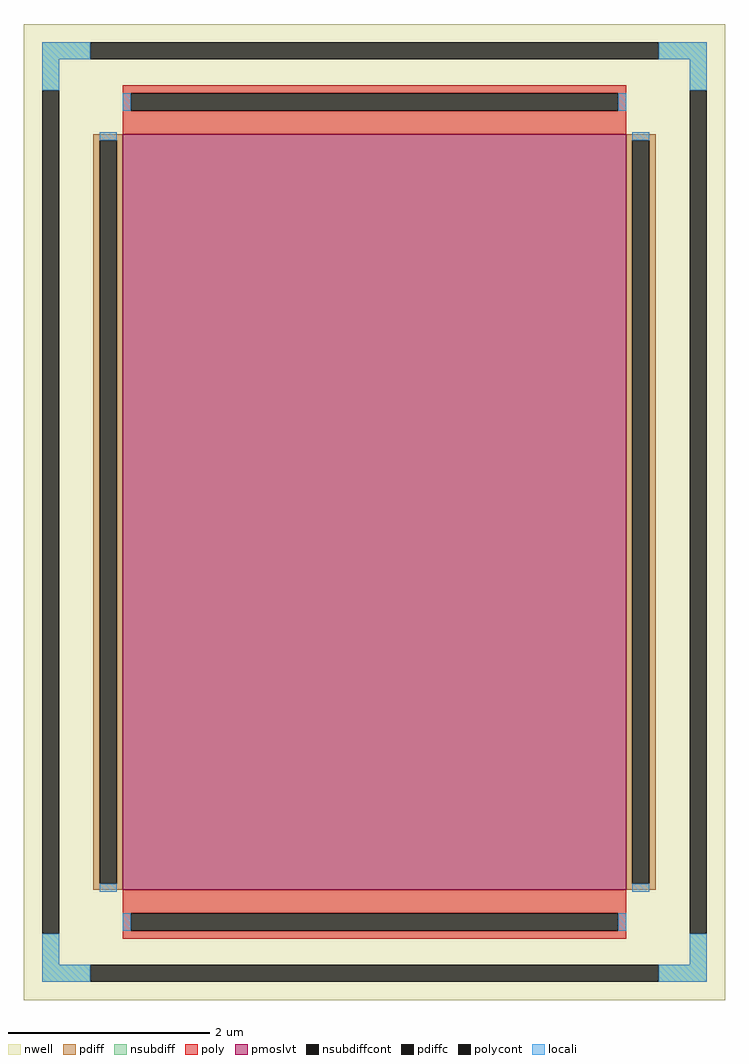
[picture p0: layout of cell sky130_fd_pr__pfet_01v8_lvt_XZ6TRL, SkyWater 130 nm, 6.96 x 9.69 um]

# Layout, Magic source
magic
tech sky130A
magscale 1 2
<< nwell >>
rect -696 -969 696 969
<< pmoslvt >>
rect -500 -750 500 750
<< pdiff >>
rect -558 738 -500 750
rect -558 -738 -546 738
rect -512 -738 -500 738
rect -558 -750 -500 -738
rect 500 738 558 750
rect 500 -738 512 738
rect 546 -738 558 738
rect 500 -750 558 -738
<< pdiffc >>
rect -546 -738 -512 738
rect 512 -738 546 738
<< nsubdiff >>
rect -660 899 -564 933
rect 564 899 660 933
rect -660 837 -626 899
rect 626 837 660 899
rect -660 -899 -626 -837
rect 626 -899 660 -837
rect -660 -933 -564 -899
rect 564 -933 660 -899
<< nsubdiffcont >>
rect -564 899 564 933
rect -660 -837 -626 837
rect 626 -837 660 837
rect -564 -933 564 -899
<< poly >>
rect -500 831 500 847
rect -500 797 -484 831
rect 484 797 500 831
rect -500 750 500 797
rect -500 -797 500 -750
rect -500 -831 -484 -797
rect 484 -831 500 -797
rect -500 -847 500 -831
<< polycont >>
rect -484 797 484 831
rect -484 -831 484 -797
<< locali >>
rect -660 899 -564 933
rect 564 899 660 933
rect -660 837 -626 899
rect 626 837 660 899
rect -500 797 -484 831
rect 484 797 500 831
rect -546 738 -512 754
rect -546 -754 -512 -738
rect 512 738 546 754
rect 512 -754 546 -738
rect -500 -831 -484 -797
rect 484 -831 500 -797
rect -660 -899 -626 -837
rect 626 -899 660 -837
rect -660 -933 -564 -899
rect 564 -933 660 -899
<< properties >>
string gencell sky130_fd_pr__pfet_01v8_lvt
string FIXED_BBOX -643 -916 643 916
string parameters w 7.5 l 5 m 1 nf 1 diffcov 100 polycov 100 guard 1 glc 1 grc 1 gtc 1 gbc 1 tbcov 100 rlcov 100 topc 1 botc 1 poverlap 0 doverlap 1 lmin 0.35 wmin 0.42 compatible {sky130_fd_pr__pfet_01v8  sky130_fd_pr__pfet_01v8_lvt sky130_fd_pr__pfet_01v8_hvt  sky130_fd_pr__pfet_g5v0d10v5} full_metal 1
string library sky130
<< end >>
